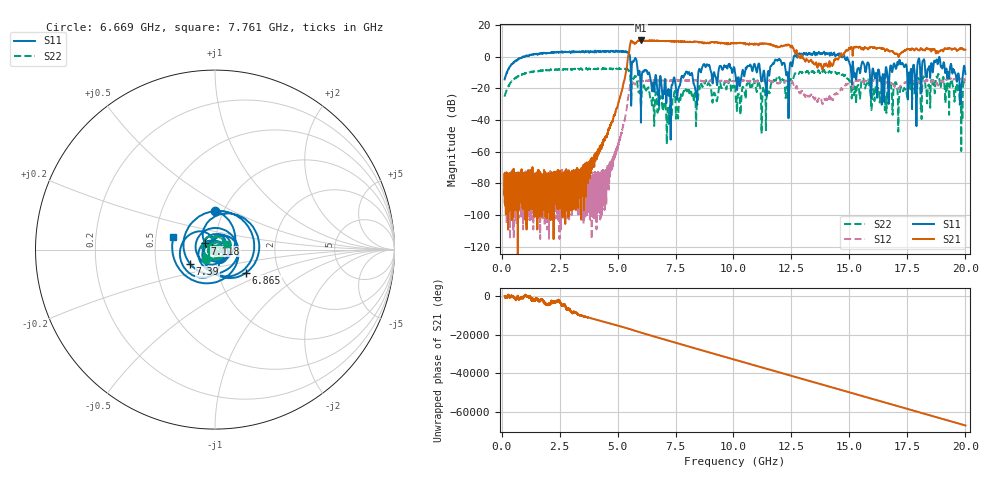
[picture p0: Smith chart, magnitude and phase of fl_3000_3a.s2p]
!Created with skrf (http://scikit-rf.org).
# GHz S RI R 50.0
!freq ReS11 ImS11 ReS21 ImS21 ReS12 ImS12 ReS22 ImS22
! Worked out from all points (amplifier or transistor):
!   20013 points, 130 MHz to 20 GHz, reference 50 ohm
!   highest |S21| = 10.3 dB at 6.004 GHz (marker M1)
!   |S21| within 3 dB of that: 5.537 GHz to 11.08 GHz (5.539 GHz wide, 66.7 % of centre)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
!   unconditionally stable (mu >= 1): 5.838 GHz to 11.77 GHz; 14.94 GHz to 17.96 GHz; 18.91 GHz to end of sweep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
!   at 3.465 GHz: K = -46214189.38, MSG = 3.0 dB, |S12| = -82.7 dB
!   at 10.14 GHz: K = 1.26, MAG = 8.8 dB, |S12| = -15.0 dB
!   at 20 GHz: K = 1.64, MAG = 4.8 dB, |S12| = -14.6 dB
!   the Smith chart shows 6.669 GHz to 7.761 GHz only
!   S11 on the Smith chart (normalised r, x): 6.669 GHz: 0.91, +0.42; 6.865 GHz: 1.36, -0.37; 7.118 GHz: 0.89, +0.06; 7.39 GHz: 0.75, -0.12; 7.761 GHz: 0.62, +0.09
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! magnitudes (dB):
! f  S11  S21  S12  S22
! 130 MHz  -14.3  -84.9  -87.4  -25.1
! 978 MHz  -0.1  -84.0  -81.0  -10.8
! 3.442 GHz  3.4  -74.1  -82.4  -7.5
! 4.526 GHz  3.4  -50.1  -77.6  -7.8
! 5.571 GHz  -8.7  9.9  -15.8  -19.5
! 6.004 GHz  -29.7  10.3  -15.2  -30.1
! 6.669 GHz  -13.2  10.0  -15.0  -22.8
! 6.754 GHz  -23.9  10.1  -14.9  -33.3
! 6.865 GHz  -13.3  9.9  -15.0  -25.0
! 7.118 GHz  -23.8  10.0  -15.0  -49.0
! 7.39 GHz  -15.9  9.7  -15.0  -25.0
! 7.761 GHz  -12.3  9.6  -15.0  -22.9
! 10.06 GHz  -9.8  8.6  -15.2  -18.2
! 10.86 GHz  -5.8  7.6  -15.7  -13.9
! 11.3 GHz  -8.8  8.1  -15.0  -20.9
! 11.92 GHz  -2.0  6.1  -16.9  -12.6
! 12.33 GHz  -9.7  7.5  -15.1  -20.3
! 13.38 GHz  1.6  -2.9  -25.1  -9.4
! 16.69 GHz  -29.8  4.0  -16.7  -15.8
! 18.82 GHz  -4.2  2.4  -18.2  -11.2
! 19.81 GHz  -21.5  5.3  -13.9  -33.1
! 20 GHz  -10.8  4.4  -14.6  -15.5
